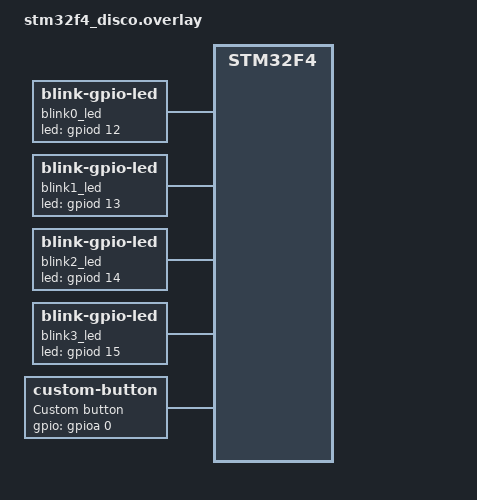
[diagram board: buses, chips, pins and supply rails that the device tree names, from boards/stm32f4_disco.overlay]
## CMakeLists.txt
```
#-------------------------------------------------------------------------------
# IAR Zephyr Example Application
#
# Copyright (c) 2026 IAR Systems AB
# SPDX-License-Identifier: Apache-2.0

cmake_minimum_required(VERSION 3.13.1)
find_package(Zephyr REQUIRED HINTS $ENV{ZEPHYR_BASE})

project(app LANGUAGES C)

target_sources(app PRIVATE
  src/thread0.c
  src/thread1.c
  src/thread2.c
  src/thread3.c
  src/thread4.c
)

# The code below locates the git index file for this repository and adds it as a dependency for
# the application VERSION file so that if the repo has a new commit added, even if no files in
# the build have changed, the application version file will be regenerated with the new git commit
find_package(Git QUIET)
if(GIT_FOUND)
  execute_process(
    COMMAND ${GIT_EXECUTABLE} rev-parse --absolute-git-dir
    WORKING_DIRECTORY .
    OUTPUT_VARIABLE application_git_dir
    OUTPUT_STRIP_TRAILING_WHITESPACE
    ERROR_STRIP_TRAILING_WHITESPACE
    ERROR_VARIABLE stderr
    RESULT_VARIABLE return_code
  )
  # If there is an error e.g. it is not a git repo, we just silently ignore it and continue
  # without a dependency, this will be the case with freestanding applications.
  if(NOT return_code)
    if(NOT "${stderr}" STREQUAL "")
      message(WARNING "Application build version git rev-parse warned: ${stderr}")
    endif()

    set_property(TARGET app_version_h PROPERTY APP_VERSION_DEPENDS ${application_git_dir}/index)
  endif()
endif()
```

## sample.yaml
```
# This file is provided so that the application can be compiled using Twister,
# the Zephyr testing tool. In this file, multiple combinations can be specified,
# so that you can easily test all of them locally or in CI.
sample:
  description: Zephyr example application
  name: zephyr-example-application
common:
  build_only: true
  integration_platforms:
    - custom_aca
tests:
  app.default: {}
  app.debug:
    extra_overlay_confs:
      - debug.conf
```

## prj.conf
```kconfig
# Copyright (c) 2026 IAR Systems AB
# SPDX-License-Identifier: Apache-2.0
#
# This file contains selected Kconfig options for the application.

CONFIG_BLINK=y
CONFIG_BUTTON=y

# IAR Compiler Debug optimizations
CONFIG_DEBUG_OPTIMIZATIONS=y

# Console
CONFIG_CONSOLE=y
CONFIG_SEMIHOST=y
CONFIG_SEMIHOST_CONSOLE=y
CONFIG_UART_CONSOLE=n

# IAR C-SPY RTOS Awareness plugin for Zephyr
CONFIG_TRACING=y
CONFIG_DEBUG_THREAD_INFO=y
# Mutexes and Semaphores
CONFIG_TRACING_OBJECT_TRACKING=y
```

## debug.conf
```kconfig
# Copyright (c) 2026 IAR Systems AB
# SPDX-License-Identifier: Apache-2.0
#
# This is a Kconfig fragment which can be used to enable debug-related options
# in the application. See the README for more details.

# compiler
CONFIG_DEBUG_OPTIMIZATIONS=y
```

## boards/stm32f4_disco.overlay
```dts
/*
 * Copyright (c) 2026 IAR Systems AB
 * SPDX-License-Identifier: Apache-2.0
 */

/* This devicetree overlay file will be automatically picked by the Zephyr
 * build system when building the sample for the IAR stm32fi4_disco board.
 * It shows how the example-application can be built on sample boards
 * already provided by Zephyr.
 */

/ {
  blink0_led: led_3 {
    compatible = "blink-gpio-led";
    led-gpios = <&gpiod 12 GPIO_ACTIVE_HIGH>;
    blink-period-ms = <100>;
  };

  blink1_led: led_4 {
    compatible = "blink-gpio-led";
    led-gpios = <&gpiod 13 GPIO_ACTIVE_HIGH>;
    blink-period-ms = <100>;
  };

  blink2_led: led_5 {
    compatible = "blink-gpio-led";
    led-gpios = <&gpiod 14 GPIO_ACTIVE_HIGH>;
    blink-period-ms = <100>;
  };

  blink3_led: led_6 {
    compatible = "blink-gpio-led";
    led-gpios = <&gpiod 15 GPIO_ACTIVE_HIGH>;
    blink-period-ms = <100>;
  };

  custom_button_0: custom_button_0 {
    compatible = "custom-button";
    gpios = <&gpioa 0 GPIO_ACTIVE_HIGH>;
    label = "Custom button";
    status = "okay";
  };
};

&gpioa {
  status = "okay";
};

&gpiod {
  status = "okay";
};
```

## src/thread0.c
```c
/*
 * Copyright (c) 2026 IAR Systems AB
 * SPDX-License-Identifier: Apache-2.0
 */

#include <zephyr/kernel.h>

#include <app/drivers/blink.h>

#include <app_version.h>

/* size of stack area */
#define STACKSIZE 1024

/* scheduling priority */
#define PRIORITY 11

/* Define semaphores for synchronization */
K_SEM_DEFINE(led0_sem, 1, 1);
extern struct k_sem led1_sem;

void blink0(void)
{
  const struct device *blink;

  printk("*** IAR Zephyr Example Application %s\n", APP_VERSION_STRING);

  blink = DEVICE_DT_GET(DT_NODELABEL(blink0_led));
  if (!device_is_ready(blink)) {
    printk("Blink 0 LED not ready\n");
    return;
  }

  /* Wait for initial token */
  k_sem_take(&led0_sem, K_FOREVER);

  while (1) {
    blink_set_period_ms(blink, 100);
    
    k_sem_give(&led1_sem);
    
    k_msleep(200);
    
    blink_off(blink);

    k_sem_take(&led0_sem, K_FOREVER);
  }
}

/* Define thread at compile-time */
K_THREAD_DEFINE(blink0_id, STACKSIZE, blink0, NULL, NULL, NULL,	PRIORITY, 0, 0);
```

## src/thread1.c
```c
/*
 * Copyright (c) 2026 IAR Systems AB
 * SPDX-License-Identifier: Apache-2.0
 */

#include <zephyr/kernel.h>

#include <app/drivers/blink.h>

/* size of stack area */
#define STACKSIZE 1024

/* scheduling priority */
#define PRIORITY 11

/* Define semaphores for synchronization */
K_SEM_DEFINE(led1_sem, 0, 1);
extern struct k_sem led2_sem;

void blink1(void)
{
  const struct device *blink;

  blink = DEVICE_DT_GET(DT_NODELABEL(blink1_led));
  if (!device_is_ready(blink)) {
    printk("Blink 1 LED not ready\n");
    return;
  }

  while (1) {
    k_sem_take(&led1_sem, K_FOREVER);
    
    blink_set_period_ms(blink, 200);
    
    k_sem_give(&led2_sem);
    
    k_msleep(400);
    
    blink_off(blink);
  }
}

/* Define thread at compile-time */
K_THREAD_DEFINE(blink1_id, STACKSIZE, blink1, NULL, NULL, NULL,	PRIORITY, 0, 0);
```

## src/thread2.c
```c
/*
 * Copyright (c) 2026 IAR Systems AB
 * SPDX-License-Identifier: Apache-2.0
 */

#include <zephyr/kernel.h>

#include <app/drivers/blink.h>

/* size of stack area */
#define STACKSIZE 1024

/* scheduling priority */
#define PRIORITY 11

/* Define semaphores for synchronization */
K_SEM_DEFINE(led2_sem, 0, 1);
extern struct k_sem led3_sem;

void blink2(void)
{
  const struct device *blink;

  blink = DEVICE_DT_GET(DT_NODELABEL(blink2_led));
  if (!device_is_ready(blink)) {
    printk("Blink 2 LED not ready\n");
    return;
  }

  while (1) {
    k_sem_take(&led2_sem, K_FOREVER);
    
    blink_set_period_ms(blink, 400);
    
    k_sem_give(&led3_sem);
    
    k_msleep(800);
    
    blink_off(blink);
  }
}

/* Define thread at compile-time */
K_THREAD_DEFINE(blink2_id, STACKSIZE, blink2, NULL, NULL, NULL,	PRIORITY, 0, 0);
```

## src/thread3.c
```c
/*
 * Copyright (c) 2026 IAR Systems AB
 * SPDX-License-Identifier: Apache-2.0
 */

#include <zephyr/kernel.h>

#include <app/drivers/blink.h>

/* size of stack area */
#define STACKSIZE 1024

/* scheduling priority */
#define PRIORITY 11

/* Define semaphores for synchronization */
K_SEM_DEFINE(led3_sem, 0, 1);
extern struct k_sem led0_sem;

void blink3(void)
{
  const struct device *blink;

  blink = DEVICE_DT_GET(DT_NODELABEL(blink3_led));
  if (!device_is_ready(blink)) {
    printk("Blink 3 LED not ready\n");
    return;
  }

  while (1) {
    k_sem_take(&led3_sem, K_FOREVER);
    
    blink_set_period_ms(blink, 800);
    
    k_sem_give(&led0_sem);
    
    k_msleep(1600);
    
    blink_off(blink);
  }
}

/* Define thread at compile-time */
K_THREAD_DEFINE(blink3_id, STACKSIZE, blink3, NULL, NULL, NULL,	PRIORITY, 0, 0);
```

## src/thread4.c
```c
/*
 * Copyright (c) 2026 IAR Systems AB
 * SPDX-License-Identifier: Apache-2.0
 */

#include <zephyr/kernel.h>

#include <app/drivers/custom_button.h>

/* size of stack area */
#define STACKSIZE 1024

/* scheduling priority */
#define PRIORITY 10

void button(void)
{
  const struct device *button;
    
  button = DEVICE_DT_GET(DT_NODELABEL(custom_button_0));
  if (!device_is_ready(button)) {
    printk("Button device not ready\n");
    return;
  }

  while(1) {
    if (button_is_pressed(button)) {
      printk("Button was pressed.\n");
    }

    k_msleep(200);
  }
}

/* Define thread at compile-time */
K_THREAD_DEFINE(button_id, STACKSIZE, button, NULL, NULL, NULL,	PRIORITY, 0, 0);
```
